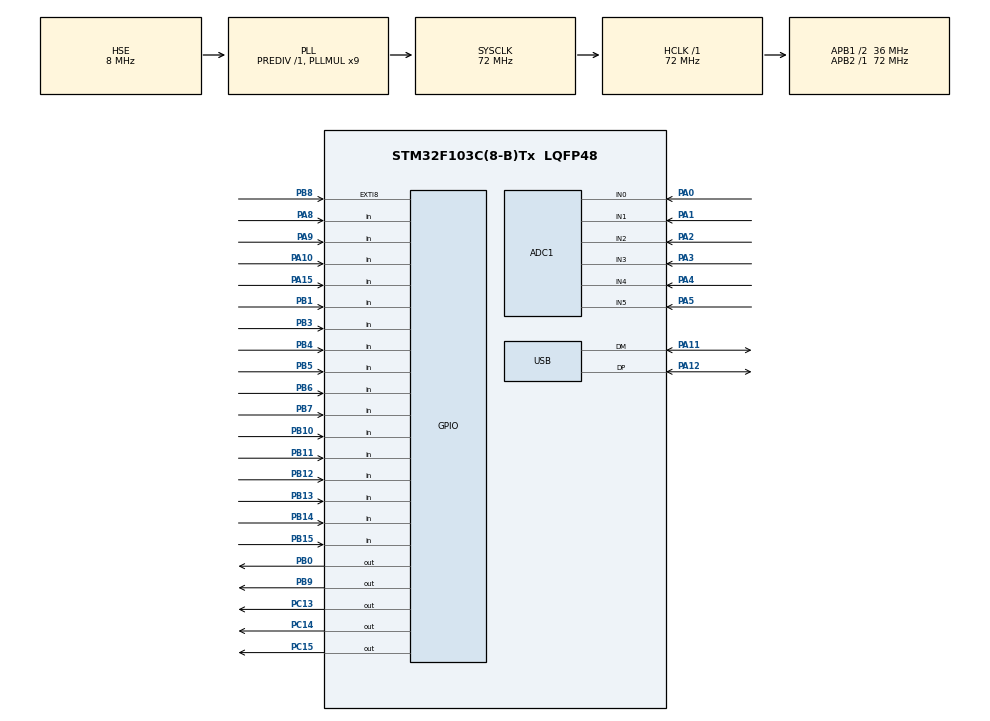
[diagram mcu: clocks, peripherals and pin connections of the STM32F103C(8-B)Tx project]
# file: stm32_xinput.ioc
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ADC1.Channel-0\#ChannelRegularConversion=ADC_CHANNEL_0
ADC1.Channel-1\#ChannelRegularConversion=ADC_CHANNEL_1
ADC1.Channel-2\#ChannelRegularConversion=ADC_CHANNEL_2
ADC1.Channel-3\#ChannelRegularConversion=ADC_CHANNEL_3
ADC1.Channel-4\#ChannelRegularConversion=ADC_CHANNEL_4
ADC1.Channel-5\#ChannelRegularConversion=ADC_CHANNEL_5
ADC1.ContinuousConvMode=ENABLE
ADC1.DataAlign=ADC_DATAALIGN_RIGHT
ADC1.DiscontinuousConvMode=DISABLE
ADC1.EnableAnalogWatchDog=false
ADC1.EnableRegularConversion=ENABLE
ADC1.InjNumberOfConversion=0
ADC1.NbrOfConversion=6
ADC1.NbrOfConversionFlag=1
ADC1.Rank-0\#ChannelRegularConversion=1
ADC1.Rank-1\#ChannelRegularConversion=2
ADC1.Rank-2\#ChannelRegularConversion=3
ADC1.Rank-3\#ChannelRegularConversion=4
ADC1.Rank-4\#ChannelRegularConversion=5
ADC1.Rank-5\#ChannelRegularConversion=6
ADC1.SamplingTime-0\#ChannelRegularConversion=ADC_SAMPLETIME_13CYCLES_5
ADC1.SamplingTime-1\#ChannelRegularConversion=ADC_SAMPLETIME_13CYCLES_5
ADC1.SamplingTime-2\#ChannelRegularConversion=ADC_SAMPLETIME_13CYCLES_5
ADC1.SamplingTime-3\#ChannelRegularConversion=ADC_SAMPLETIME_13CYCLES_5
ADC1.SamplingTime-4\#ChannelRegularConversion=ADC_SAMPLETIME_13CYCLES_5
ADC1.SamplingTime-5\#ChannelRegularConversion=ADC_SAMPLETIME_13CYCLES_5
ADC1.ScanConvMode=ADC_SCAN_ENABLE
ADC1.master=1
Dma.ADC1.0.Direction=DMA_PERIPH_TO_MEMORY
Dma.ADC1.0.Instance=DMA1_Channel1
Dma.ADC1.0.MemDataAlignment=DMA_MDATAALIGN_WORD
Dma.ADC1.0.MemInc=DMA_MINC_ENABLE
Dma.ADC1.0.Mode=DMA_CIRCULAR
Dma.ADC1.0.PeriphDataAlignment=DMA_PDATAALIGN_WORD
Dma.ADC1.0.PeriphInc=DMA_PINC_DISABLE
Dma.ADC1.0.Priority=DMA_PRIORITY_LOW
Dma.Request0=ADC1
Mcu.Family=STM32F1
Mcu.Name=STM32F103C(8-B)Tx
Mcu.Package=LQFP48
NVIC.DMA1_Channel1_IRQn=true\:0\:0\:false\:false\:true
NVIC.EXTI9_5_IRQn=true\:0\:0\:false\:false\:true
NVIC.PriorityGroup=NVIC_PRIORITYGROUP_4
NVIC.TIM3_IRQn=true\:0\:0\:false\:false\:true
NVIC.USB_LP_CAN1_RX0_IRQn=true\:0\:0\:false\:false\:true
PA0-WKUP.Signal=ADCx_IN0
PA1.Signal=ADCx_IN1
PA10.GPIO_PuPd=GPIO_PULLUP
PA10.Signal=GPIO_Input
PA11.Mode=Device
PA11.Signal=USB_DM
PA12.Mode=Device
PA12.Signal=USB_DP
PA13.Mode=Serial_Wire
PA13.Signal=SYS_JTMS-SWDIO
PA14.Mode=Serial_Wire
PA14.Signal=SYS_JTCK-SWCLK
PA15.GPIO_PuPd=GPIO_PULLUP
PA15.Signal=GPIO_Input
PA2.Signal=ADCx_IN2
PA3.Signal=ADCx_IN3
PA4.Signal=ADCx_IN4
PA5.Signal=ADCx_IN5
PA8.GPIO_PuPd=GPIO_PULLUP
PA8.Signal=GPIO_Input
PA9.GPIO_PuPd=GPIO_PULLUP
PA9.Signal=GPIO_Input
PB0.Signal=GPIO_Output
PB1.Signal=GPIO_Input
PB10.GPIO_PuPd=GPIO_PULLUP
PB10.Signal=GPIO_Input
PB11.GPIO_PuPd=GPIO_PULLUP
PB11.Signal=GPIO_Input
PB12.GPIO_PuPd=GPIO_PULLUP
PB12.Signal=GPIO_Input
PB13.GPIO_PuPd=GPIO_PULLUP
PB13.Signal=GPIO_Input
PB14.GPIO_PuPd=GPIO_PULLUP
PB14.Signal=GPIO_Input
PB15.GPIO_PuPd=GPIO_PULLUP
PB15.Signal=GPIO_Input
PB3.GPIO_PuPd=GPIO_PULLUP
PB3.Signal=GPIO_Input
PB4.GPIO_PuPd=GPIO_PULLUP
PB4.Signal=GPIO_Input
PB5.GPIO_PuPd=GPIO_PULLUP
PB5.Signal=GPIO_Input
PB6.GPIO_PuPd=GPIO_PULLUP
PB6.Signal=GPIO_Input
PB7.GPIO_PuPd=GPIO_PULLUP
PB7.Signal=GPIO_Input
PB8.GPIO_PuPd=GPIO_PULLUP
PB8.Signal=GPXTI8
PB9.Signal=GPIO_Output
PC13-TAMPER-RTC.Signal=GPIO_Output
PC14-OSC32_IN.Signal=GPIO_Output
PC15-OSC32_OUT.Signal=GPIO_Output
PD0-OSC_IN.Mode=HSE-External-Oscillator
PD0-OSC_IN.Signal=RCC_OSC_IN
PD1-OSC_OUT.Mode=HSE-External-Oscillator
PD1-OSC_OUT.Signal=RCC_OSC_OUT
ProjectManager.HeapSize=0x800
ProjectManager.StackSize=0x800
ProjectManager.TargetToolchain=MDK-ARM V5
RCC.ADCPresc=RCC_ADCPCLK2_DIV6
RCC.AHBFreq_Value=72000000
RCC.APB1CLKDivider=RCC_HCLK_DIV2
RCC.APB1Freq_Value=36000000
RCC.APB1TimFreq_Value=72000000
RCC.APB2Freq_Value=72000000
RCC.APB2TimFreq_Value=72000000
RCC.HCLKFreq_Value=72000000
RCC.PLLMUL=RCC_PLL_MUL9
RCC.SYSCLKFreq_VALUE=72000000
RCC.SYSCLKSource=RCC_SYSCLKSOURCE_PLLCLK
RCC.USBFreq_Value=48000000
RCC.USBPrescaler=RCC_USBCLKSOURCE_PLL_DIV1_5
SH.ADCx_IN0.0=ADC1_IN0,IN0
SH.ADCx_IN1.0=ADC1_IN1,IN1
SH.ADCx_IN2.0=ADC1_IN2,IN2
SH.ADCx_IN3.0=ADC1_IN3,IN3
SH.ADCx_IN4.0=ADC1_IN4,IN4
SH.ADCx_IN5.0=ADC1_IN5,IN5
TIM3.Period=1000
TIM3.Prescaler=72
USB_DEVICE.CLASS_NAME_FS=CUSTOMHID
USB_DEVICE.USBD_HandleTypeDef=hUsbDeviceFS
USB_DEVICE.VirtualMode=CustomHid
USB_DEVICE.VirtualModeFS=Custom_Hid_FS
VP_TIM3_VS_ClockSourceINT.Mode=Internal
VP_USB_DEVICE_VS_USB_DEVICE_CUSTOM_HID_FS.Mode=CUSTOM_HID_FS
board=stm32_xinput

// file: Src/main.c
/**
  ******************************************************************************
  * File Name          : main.c
  * Description        : Main program body
  ******************************************************************************
  * This notice applies to any and all portions of this file
  * that are not between comment pairs USER CODE BEGIN and
  * USER CODE END. Other portions of this file, whether
  * inserted by the user or by software development tools
  * are owned by their respective copyright owners.
  *
  * Copyright (c) 2017 STMicroelectronics International N.V.
  * All rights reserved.
  *
  * Redistribution and use in source and binary forms, with or without
  * modification, are permitted, provided that the following conditions are met:
  *
  * 1. Redistribution of source code must retain the above copyright notice,
  *    this list of conditions and the following disclaimer.
  * 2. Redistributions in binary form must reproduce the above copyright notice,
  *    this list of conditions and the following disclaimer in the documentation
  *    and/or other materials provided with the distribution.
  * 3. Neither the name of STMicroelectronics nor the names of other
  *    contributors to this software may be used to endorse or promote products
  *    derived from this software without specific written permission.
  * 4. This software, including modifications and/or derivative works of this
  *    software, must execute solely and exclusively on microcontroller or
  *    microprocessor devices manufactured by or for STMicroelectronics.
  * 5. Redistribution and use of this software other than as permitted under
  *    this license is void and will automatically terminate your rights under
  *    this license.
  *
  * THIS SOFTWARE IS PROVIDED BY STMICROELECTRONICS AND CONTRIBUTORS "AS IS"
  * AND ANY EXPRESS, IMPLIED OR STATUTORY WARRANTIES, INCLUDING, BUT NOT
  * LIMITED TO, THE IMPLIED WARRANTIES OF MERCHANTABILITY, FITNESS FOR A
  * PARTICULAR PURPOSE AND NON-INFRINGEMENT OF THIRD PARTY INTELLECTUAL PROPERTY
  * RIGHTS ARE DISCLAIMED TO THE FULLEST EXTENT PERMITTED BY LAW. IN NO EVENT
  * SHALL STMICROELECTRONICS OR CONTRIBUTORS BE LIABLE FOR ANY DIRECT, INDIRECT,
  * INCIDENTAL, SPECIAL, EXEMPLARY, OR CONSEQUENTIAL DAMAGES (INCLUDING, BUT NOT
  * LIMITED TO, PROCUREMENT OF SUBSTITUTE GOODS OR SERVICES; LOSS OF USE, DATA,
  * OR PROFITS; OR BUSINESS INTERRUPTION) HOWEVER CAUSED AND ON ANY THEORY OF
  * LIABILITY, WHETHER IN CONTRACT, STRICT LIABILITY, OR TORT (INCLUDING
  * NEGLIGENCE OR OTHERWISE) ARISING IN ANY WAY OUT OF THE USE OF THIS SOFTWARE,
  * EVEN IF ADVISED OF THE POSSIBILITY OF SUCH DAMAGE.
  *
  ******************************************************************************
  */
#include "main.h"
#include "stm32f1xx_hal.h"
#include "usb_device.h"

/* USER CODE BEGIN Includes */

#include "usbd_desc.h"
#include "xinput.h"
#include "stm32_xinput.h"
#include "usb_xinput.h"
#include "time_lib.h"
#include "hc_sr04_lib.h"

/* USER CODE END Includes */

ADC_HandleTypeDef hadc1;
DMA_HandleTypeDef hdma_adc1;

TIM_HandleTypeDef htim3;

/* USER CODE BEGIN PV */
/* Private variables ---------------------------------------------------------*/

extern USBD_HandleTypeDef  *hUsbDevice_0;
uint32_t ADC_buffer[6];

int32_t distance = 0;

/* USER CODE END PV */

void SystemClock_Config(void);
static void MX_GPIO_Init(void);
static void MX_DMA_Init(void);
static void MX_ADC1_Init(void);
static void MX_TIM3_Init(void);

/* USER CODE BEGIN PFP */
/* Private function prototypes -----------------------------------------------*/

uint8_t USB_RX_Buffer[8] = {0,0,0,0,0,0,0,0};
uint8_t USB_TX_Buffer[8] = {0,0,0,0,0,0,0,0};

extern uint8_t USBD_CUSTOM_HID_SendReport     (USBD_HandleTypeDef  *pdev,
                                 uint8_t *report,
                                 uint16_t len);

/* USER CODE END PFP */

/* USER CODE BEGIN 0 */

uint32_t real_time = 0;

/* USER CODE END 0 */

int main(void)
{

  /* MCU Configuration----------------------------------------------------------*/

  /* Reset of all peripherals, Initializes the Flash interface and the Systick. */
  HAL_Init();

  /* Configure the system clock */
  SystemClock_Config();

  /* Initialize all configured peripherals */
  MX_GPIO_Init();
  MX_DMA_Init();
  MX_ADC1_Init();
  MX_USB_DEVICE_Init();
  MX_TIM3_Init();

  /* USER CODE BEGIN 2 */

	HAL_DMA_Init(&hdma_adc1);
	HAL_ADC_Start_DMA( &hadc1, ADC_buffer, 6 );
	HAL_ADC_Start_IT( &hadc1 );

	// Declare port and pins
	declareButtonPins();
	declareAnalogPins();
	declareEncoderPins();

	// Initialize time (millis and micros)
	TIME_init( htim3 );

	// Initialize Sonar
	Sonar_PinStruct trigger_pin;
	trigger_pin.GPIOx = GPIOB;
	trigger_pin.Pin = GPIO_PIN_0;

	Sonar_PinStruct echo_pin;
	echo_pin.GPIOx = GPIOB;
	echo_pin.Pin = GPIO_PIN_1;

	Sonar_Init( trigger_pin, echo_pin );

  /* USER CODE END 2 */

  /* Infinite loop */
  /* USER CODE BEGIN WHILE */
  while (1)
  {

		// Read and update buttons, dpad and adc handbrake
		readButtons();

		// Potentiometers is used to triggers and sticks

		// Read ADC values
		readAdcValues();

		// Update values of sticks
		updateSticks();

		// Update values of triggres
		updateTriggers();

		// Send commands to PC
		//USBD_LL_Transmit( hUsbDevice_0, XINPUT_TX_ENDPOINT, TXData ,XINPUT_TX_SIZE);
		USBD_CUSTOM_HID_SendReport( hUsbDevice_0, TXData, XINPUT_TX_SIZE );
		//HAL_GPIO_TogglePin(GPIOC, GPIO_PIN_13);				// Led to calculate speed transmission

		HAL_Delay(20);

  /* USER CODE END WHILE */

  }

}

/** System Clock Configuration
*/
void SystemClock_Config(void)
{

  RCC_OscInitTypeDef RCC_OscInitStruct;
  RCC_ClkInitTypeDef RCC_ClkInitStruct;
  RCC_PeriphCLKInitTypeDef PeriphClkInit;

    /**Initializes the CPU, AHB and APB busses clocks
    */
  RCC_OscInitStruct.OscillatorType = RCC_OSCILLATORTYPE_HSE;
  RCC_OscInitStruct.HSEState = RCC_HSE_ON;
  RCC_OscInitStruct.HSEPredivValue = RCC_HSE_PREDIV_DIV1;
  RCC_OscInitStruct.HSIState = RCC_HSI_ON;
  RCC_OscInitStruct.PLL.PLLState = RCC_PLL_ON;
  RCC_OscInitStruct.PLL.PLLSource = RCC_PLLSOURCE_HSE;
  RCC_OscInitStruct.PLL.PLLMUL = RCC_PLL_MUL9;
  if (HAL_RCC_OscConfig(&RCC_OscInitStruct) != HAL_OK)
  {
    _Error_Handler(__FILE__, __LINE__);
  }

    /**Initializes the CPU, AHB and APB busses clocks
    */
  RCC_ClkInitStruct.ClockType = RCC_CLOCKTYPE_HCLK|RCC_CLOCKTYPE_SYSCLK
                              |RCC_CLOCKTYPE_PCLK1|RCC_CLOCKTYPE_PCLK2;
  RCC_ClkInitStruct.SYSCLKSource = RCC_SYSCLKSOURCE_PLLCLK;
  RCC_ClkInitStruct.AHBCLKDivider = RCC_SYSCLK_DIV1;
  RCC_ClkInitStruct.APB1CLKDivider = RCC_HCLK_DIV2;
  RCC_ClkInitStruct.APB2CLKDivider = RCC_HCLK_DIV1;

  if (HAL_RCC_ClockConfig(&RCC_ClkInitStruct, FLASH_LATENCY_2) != HAL_OK)
  {
    _Error_Handler(__FILE__, __LINE__);
  }

  PeriphClkInit.PeriphClockSelection = RCC_PERIPHCLK_ADC|RCC_PERIPHCLK_USB;
  PeriphClkInit.AdcClockSelection = RCC_ADCPCLK2_DIV6;
  PeriphClkInit.UsbClockSelection = RCC_USBCLKSOURCE_PLL_DIV1_5;
  if (HAL_RCCEx_PeriphCLKConfig(&PeriphClkInit) != HAL_OK)
  {
    _Error_Handler(__FILE__, __LINE__);
  }

    /**Configure the Systick interrupt time
    */
  HAL_SYSTICK_Config(HAL_RCC_GetHCLKFreq()/1000);

    /**Configure the Systick
    */
  HAL_SYSTICK_CLKSourceConfig(SYSTICK_CLKSOURCE_HCLK);

  /* SysTick_IRQn interrupt configuration */
  HAL_NVIC_SetPriority(SysTick_IRQn, 0, 0);
}

/* ADC1 init function */
static void MX_ADC1_Init(void)
{

  ADC_ChannelConfTypeDef sConfig;

    /**Common config
    */
  hadc1.Instance = ADC1;
  hadc1.Init.ScanConvMode = ADC_SCAN_ENABLE;
  hadc1.Init.ContinuousConvMode = ENABLE;
  hadc1.Init.DiscontinuousConvMode = DISABLE;
  hadc1.Init.ExternalTrigConv = ADC_SOFTWARE_START;
  hadc1.Init.DataAlign = ADC_DATAALIGN_RIGHT;
  hadc1.Init.NbrOfConversion = 6;
  if (HAL_ADC_Init(&hadc1) != HAL_OK)
  {
    _Error_Handler(__FILE__, __LINE__);
  }

    /**Configure Regular Channel
    */
  sConfig.Channel = ADC_CHANNEL_0;
  sConfig.Rank = 1;
  sConfig.SamplingTime = ADC_SAMPLETIME_13CYCLES_5;
  if (HAL_ADC_ConfigChannel(&hadc1, &sConfig) != HAL_OK)
  {
    _Error_Handler(__FILE__, __LINE__);
  }

    /**Configure Regular Channel
    */
  sConfig.Channel = ADC_CHANNEL_1;
  sConfig.Rank = 2;
  if (HAL_ADC_ConfigChannel(&hadc1, &sConfig) != HAL_OK)
  {
    _Error_Handler(__FILE__, __LINE__);
  }

    /**Configure Regular Channel
    */
  sConfig.Channel = ADC_CHANNEL_2;
  sConfig.Rank = 3;
  if (HAL_ADC_ConfigChannel(&hadc1, &sConfig) != HAL_OK)
  {
    _Error_Handler(__FILE__, __LINE__);
  }

    /**Configure Regular Channel
    */
  sConfig.Channel = ADC_CHANNEL_3;
  sConfig.Rank = 4;
  if (HAL_ADC_ConfigChannel(&hadc1, &sConfig) != HAL_OK)
  {
    _Error_Handler(__FILE__, __LINE__);
  }

    /**Configure Regular Channel
    */
  sConfig.Channel = ADC_CHANNEL_4;
  sConfig.Rank = 5;
  if (HAL_ADC_ConfigChannel(&hadc1, &sConfig) != HAL_OK)
  {
    _Error_Handler(__FILE__, __LINE__);
  }

    /**Configure Regular Channel
    */
  sConfig.Channel = ADC_CHANNEL_5;
  sConfig.Rank = 6;
  if (HAL_ADC_ConfigChannel(&hadc1, &sConfig) != HAL_OK)
  {
    _Error_Handler(__FILE__, __LINE__);
  }

}

/* TIM3 init function */
static void MX_TIM3_Init(void)
{

  TIM_ClockConfigTypeDef sClockSourceConfig;
  TIM_MasterConfigTypeDef sMasterConfig;

  htim3.Instance = TIM3;
  htim3.Init.Prescaler = 72;
  htim3.Init.CounterMode = TIM_COUNTERMODE_UP;
  htim3.Init.Period = 1000;
  htim3.Init.ClockDivision = TIM_CLOCKDIVISION_DIV1;
  htim3.Init.AutoReloadPreload = TIM_AUTORELOAD_PRELOAD_DISABLE;
  if (HAL_TIM_Base_Init(&htim3) != HAL_OK)
  {
    _Error_Handler(__FILE__, __LINE__);
  }

  sClockSourceConfig.ClockSource = TIM_CLOCKSOURCE_INTERNAL;
  if (HAL_TIM_ConfigClockSource(&htim3, &sClockSourceConfig) != HAL_OK)
  {
    _Error_Handler(__FILE__, __LINE__);
  }

  sMasterConfig.MasterOutputTrigger = TIM_TRGO_RESET;
  sMasterConfig.MasterSlaveMode = TIM_MASTERSLAVEMODE_DISABLE;
  if (HAL_TIMEx_MasterConfigSynchronization(&htim3, &sMasterConfig) != HAL_OK)
  {
    _Error_Handler(__FILE__, __LINE__);
  }

}

static void MX_DMA_Init(void)
{
  /* DMA controller clock enable */
  __HAL_RCC_DMA1_CLK_ENABLE();

  /* DMA interrupt init */
  /* DMA1_Channel1_IRQn interrupt configuration */
  HAL_NVIC_SetPriority(DMA1_Channel1_IRQn, 0, 0);
  HAL_NVIC_EnableIRQ(DMA1_Channel1_IRQn);

}

/** Configure pins as
        * Analog
        * Input
        * Output
        * EVENT_OUT
        * EXTI
*/
static void MX_GPIO_Init(void)
{

  GPIO_InitTypeDef GPIO_InitStruct;

  /* GPIO Ports Clock Enable */
  __HAL_RCC_GPIOC_CLK_ENABLE();
  __HAL_RCC_GPIOD_CLK_ENABLE();
  __HAL_RCC_GPIOA_CLK_ENABLE();
  __HAL_RCC_GPIOB_CLK_ENABLE();

  /*Configure GPIO pin Output Level */
  HAL_GPIO_WritePin(GPIOC, GPIO_PIN_13|GPIO_PIN_14|GPIO_PIN_15, GPIO_PIN_RESET);

  /*Configure GPIO pin Output Level */
  HAL_GPIO_WritePin(GPIOB, GPIO_PIN_9, GPIO_PIN_RESET);

  /*Configure GPIO pins : PC13 PC14 PC15 */
  GPIO_InitStruct.Pin = GPIO_PIN_13|GPIO_PIN_14|GPIO_PIN_15;
  GPIO_InitStruct.Mode = GPIO_MODE_OUTPUT_PP;
  GPIO_InitStruct.Speed = GPIO_SPEED_FREQ_LOW;
  HAL_GPIO_Init(GPIOC, &GPIO_InitStruct);

  /*Configure GPIO pins : PB10 PB11 PB12 PB13
                           PB14 PB15 PB3 PB4
                           PB5 PB6 PB7 */
  GPIO_InitStruct.Pin = GPIO_PIN_10|GPIO_PIN_11|GPIO_PIN_12|GPIO_PIN_13
                          |GPIO_PIN_14|GPIO_PIN_15|GPIO_PIN_3|GPIO_PIN_4
                          |GPIO_PIN_5|GPIO_PIN_6|GPIO_PIN_7;
  GPIO_InitStruct.Mode = GPIO_MODE_INPUT;
  GPIO_InitStruct.Pull = GPIO_PULLUP;
  HAL_GPIO_Init(GPIOB, &GPIO_InitStruct);

  /*Configure GPIO pins : PA8 PA9 PA10 PA15 */
  GPIO_InitStruct.Pin = GPIO_PIN_8|GPIO_PIN_9|GPIO_PIN_10|GPIO_PIN_15;
  GPIO_InitStruct.Mode = GPIO_MODE_INPUT;
  GPIO_InitStruct.Pull = GPIO_PULLUP;
  HAL_GPIO_Init(GPIOA, &GPIO_InitStruct);

  /*Configure GPIO pin : PB8 */
  GPIO_InitStruct.Pin = GPIO_PIN_8;
  GPIO_InitStruct.Mode = GPIO_MODE_IT_RISING;
  GPIO_InitStruct.Pull = GPIO_PULLUP;
  HAL_GPIO_Init(GPIOB, &GPIO_InitStruct);

  /*Configure GPIO pin : PB9 */
  GPIO_InitStruct.Pin = GPIO_PIN_9;
  GPIO_InitStruct.Mode = GPIO_MODE_OUTPUT_PP;
  GPIO_InitStruct.Speed = GPIO_SPEED_FREQ_LOW;
  HAL_GPIO_Init(GPIOB, &GPIO_InitStruct);

	/*Configure GPIO pin : PB0 */
  GPIO_InitStruct.Pin = GPIO_PIN_0;
  GPIO_InitStruct.Mode = GPIO_MODE_OUTPUT_PP;
  GPIO_InitStruct.Speed = GPIO_SPEED_FREQ_LOW;
  HAL_GPIO_Init(GPIOB, &GPIO_InitStruct);

	/*Configure GPIO pins : PB1 */
  GPIO_InitStruct.Pin = GPIO_PIN_1;
  GPIO_InitStruct.Mode = GPIO_MODE_INPUT;
  GPIO_InitStruct.Pull = GPIO_PULLDOWN;
  HAL_GPIO_Init(GPIOB, &GPIO_InitStruct);

  /* EXTI interrupt init*/
  HAL_NVIC_SetPriority(EXTI9_5_IRQn, 0, 0);
  HAL_NVIC_EnableIRQ(EXTI9_5_IRQn);

}

/* USER CODE BEGIN 4 */

/**	ADC ISR
*		Handles the values from ADC after the conversion finished
*/
void HAL_ADC_ConvCpltCallback(ADC_HandleTypeDef* hadc){

	if( adcValueReady == 0 ){

		leftTriggerValue_ADC	= ADC_buffer[0];
		rightTriggerValue_ADC = ADC_buffer[1];
		xRightStickValue_ADC	= ADC_buffer[2];
		yRightStickValue_ADC	= ADC_buffer[3];
		xLeftStickValue_ADC		= ADC_buffer[4];
		yLeftStickValue_ADC		= ADC_buffer[5];

		adcValueReady = 1;
	}

}

void HAL_TIM_PeriodElapsedCallback(TIM_HandleTypeDef *htim){

	if( htim->Instance == TIM3 ){
		add_millis();
		//HAL_GPIO_TogglePin(GPIOC, GPIO_PIN_13);
	}

}

/* USER CODE END 4 */

void _Error_Handler(char * file, int line)
{
  while(1)
  {
  }
}

/************************ (C) COPYRIGHT STMicroelectronics *****END OF FILE****/
